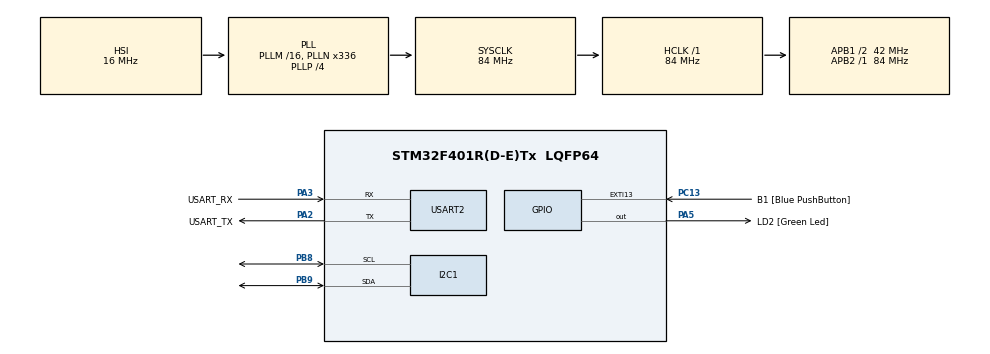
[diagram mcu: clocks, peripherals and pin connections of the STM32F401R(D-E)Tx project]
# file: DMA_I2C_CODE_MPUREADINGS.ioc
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Dma.I2C1_RX.0.Direction=DMA_PERIPH_TO_MEMORY
Dma.I2C1_RX.0.FIFOMode=DMA_FIFOMODE_DISABLE
Dma.I2C1_RX.0.Instance=DMA1_Stream0
Dma.I2C1_RX.0.MemDataAlignment=DMA_MDATAALIGN_BYTE
Dma.I2C1_RX.0.MemInc=DMA_MINC_ENABLE
Dma.I2C1_RX.0.Mode=DMA_CIRCULAR
Dma.I2C1_RX.0.PeriphDataAlignment=DMA_PDATAALIGN_BYTE
Dma.I2C1_RX.0.PeriphInc=DMA_PINC_DISABLE
Dma.I2C1_RX.0.Priority=DMA_PRIORITY_VERY_HIGH
Dma.Request0=I2C1_RX
Dma.Request1=USART2_TX
Dma.USART2_TX.1.Direction=DMA_MEMORY_TO_PERIPH
Dma.USART2_TX.1.FIFOMode=DMA_FIFOMODE_DISABLE
Dma.USART2_TX.1.Instance=DMA1_Stream6
Dma.USART2_TX.1.MemDataAlignment=DMA_MDATAALIGN_BYTE
Dma.USART2_TX.1.MemInc=DMA_MINC_ENABLE
Dma.USART2_TX.1.Mode=DMA_CIRCULAR
Dma.USART2_TX.1.PeriphDataAlignment=DMA_PDATAALIGN_BYTE
Dma.USART2_TX.1.PeriphInc=DMA_PINC_DISABLE
Dma.USART2_TX.1.Priority=DMA_PRIORITY_LOW
Mcu.Family=STM32F4
Mcu.Name=STM32F401R(D-E)Tx
Mcu.Package=LQFP64
NVIC.DMA1_Stream0_IRQn=true\:0\:0\:false\:false\:true\:false\:true\:true
NVIC.DMA1_Stream6_IRQn=true\:0\:0\:false\:false\:true\:false\:true\:true
NVIC.I2C1_ER_IRQn=true\:0\:0\:false\:false\:true\:true\:true\:true
NVIC.I2C1_EV_IRQn=true\:0\:0\:false\:false\:true\:true\:true\:true
NVIC.PriorityGroup=NVIC_PRIORITYGROUP_4
PA13.GPIO_Label=TMS
PA13.Mode=Trace_Asynchronous_SW
PA13.Signal=SYS_JTMS-SWDIO
PA14.GPIO_Label=TCK
PA14.Mode=Trace_Asynchronous_SW
PA14.Signal=SYS_JTCK-SWCLK
PA2.GPIO_Label=USART_TX
PA2.GPIO_Mode=GPIO_MODE_AF_PP
PA2.GPIO_PuPd=GPIO_NOPULL
PA2.GPIO_Speed=GPIO_SPEED_FREQ_LOW
PA2.Mode=Asynchronous
PA2.Signal=USART2_TX
PA3.GPIO_Label=USART_RX
PA3.GPIO_Mode=GPIO_MODE_AF_PP
PA3.GPIO_PuPd=GPIO_NOPULL
PA3.GPIO_Speed=GPIO_SPEED_FREQ_LOW
PA3.Mode=Asynchronous
PA3.Signal=USART2_RX
PA5.GPIO_Label=LD2 [Green Led]
PA5.GPIO_Mode=GPIO_MODE_OUTPUT_PP
PA5.GPIO_PuPd=GPIO_NOPULL
PA5.GPIO_Speed=GPIO_SPEED_FREQ_LOW
PA5.Signal=GPIO_Output
PB3.GPIO_Label=SWO
PB3.Mode=Trace_Asynchronous_SW
PB3.Signal=SYS_JTDO-SWO
PB8.Mode=I2C
PB8.Signal=I2C1_SCL
PB9.Mode=I2C
PB9.Signal=I2C1_SDA
PC13-ANTI_TAMP.GPIO_Label=B1 [Blue PushButton]
PC13-ANTI_TAMP.GPIO_ModeDefaultEXTI=GPIO_MODE_IT_FALLING
PC13-ANTI_TAMP.GPIO_PuPd=GPIO_NOPULL
PC13-ANTI_TAMP.Signal=GPXTI13
PC14-OSC32_IN.Mode=LSE-External-Oscillator
PC14-OSC32_IN.Signal=RCC_OSC32_IN
PC15-OSC32_OUT.Mode=LSE-External-Oscillator
PC15-OSC32_OUT.Signal=RCC_OSC32_OUT
PH0\ -\ OSC_IN.Mode=HSE-External-Clock-Source
PH0\ -\ OSC_IN.Signal=RCC_OSC_IN
PH1\ -\ OSC_OUT.Mode=HSE-External-Clock-Source
PH1\ -\ OSC_OUT.Signal=RCC_OSC_OUT
ProjectManager.HeapSize=0x200
ProjectManager.StackSize=0x400
ProjectManager.TargetToolchain=STM32CubeIDE
RCC.48MHZClocksFreq_Value=48000000
RCC.AHBFreq_Value=84000000
RCC.APB1CLKDivider=RCC_HCLK_DIV2
RCC.APB1Freq_Value=42000000
RCC.APB1TimFreq_Value=84000000
RCC.APB2Freq_Value=84000000
RCC.APB2TimFreq_Value=84000000
RCC.CortexFreq_Value=84000000
RCC.HCLKFreq_Value=84000000
RCC.HSE_VALUE=8000000
RCC.HSI_VALUE=16000000
RCC.PLLN=336
RCC.PLLP=RCC_PLLP_DIV4
RCC.PLLQ=7
RCC.SYSCLKFreq_VALUE=84000000
RCC.SYSCLKSource=RCC_SYSCLKSOURCE_PLLCLK
RCC.VCOOutputFreq_Value=336000000
USART2.VirtualMode=VM_ASYNC
board=NUCLEO-F401RE

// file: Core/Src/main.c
/* USER CODE BEGIN Header */
/**
  ******************************************************************************
  * @file           : main.c
  * @brief          : Main program body
  ******************************************************************************
  * @attention
  *
  * Copyright (c) 2025 STMicroelectronics.
  * All rights reserved.
  *
  * This software is licensed under terms that can be found in the LICENSE file
  * in the root directory of this software component.
  * If no LICENSE file comes with this software, it is provided AS-IS.
  *
  ******************************************************************************
  */
/* USER CODE END Header */
#include "main.h"
#include <stdio.h>
#include <string.h>

/* USER CODE BEGIN PD */
#define MPU6050_ADDR         (0x68 << 1)
#define MPU6050_PWR_MGMT_1   0x6B
#define MPU6050_ACCEL_XOUT_H 0x3B
#define DATA_LENGTH          14

/* USER CODE END PD */

I2C_HandleTypeDef hi2c1;
DMA_HandleTypeDef hdma_i2c1_rx;

UART_HandleTypeDef huart2;
DMA_HandleTypeDef hdma_usart2_tx;

/* USER CODE BEGIN PV */

uint8_t mpu6050Data[14];
volatile uint8_t dataReady = 0; // Flag for DMA completion

int16_t AccelX, AccelY, AccelZ;
int16_t Temperature;
int16_t GyroX, GyroY, GyroZ;
uint8_t mpu6050Data[DATA_LENGTH];
volatile uint8_t dma_transfer_complete = 0;
/* USER CODE END PV */

void SystemClock_Config(void);
static void MX_GPIO_Init(void);
static void MX_DMA_Init(void);
static void MX_USART2_UART_Init(void);
static void MX_I2C1_Init(void);
void MPU6050_Init(void);
void MPU6050_Read(void);
void ProcessMPU6050Data(void);
void Debug_UART_Print(const char *message);

/* USER CODE BEGIN 0 */
void Debug_UART_Print(const char *message)
{
    HAL_UART_Transmit(&huart2, (uint8_t *)message, strlen(message), HAL_MAX_DELAY);
}
/* Initialize the MPU6050 */
void MPU6050_Init(void)
{
    uint8_t data = 0;
    if (HAL_I2C_Mem_Write(&hi2c1, MPU6050_ADDR, MPU6050_PWR_MGMT_1,
                          I2C_MEMADD_SIZE_8BIT, &data, 1, HAL_MAX_DELAY) == HAL_OK)
    {
        Debug_UART_Print("MPU6050 Initialized Successfully\r\n");
    }
    else
    {
        Debug_UART_Print("MPU6050 Initialization Failed\r\n");
    }
}

/* Start I2C Read using DMA */
void MPU6050_Read(void)
{
    dma_transfer_complete = 0;  // Reset flag before starting DMA transfer
    Debug_UART_Print("Starting I2C DMA Read...\r\n");

    if (HAL_I2C_Mem_Read_DMA(&hi2c1, MPU6050_ADDR, MPU6050_ACCEL_XOUT_H,
                             I2C_MEMADD_SIZE_8BIT, mpu6050Data, DATA_LENGTH) != HAL_OK)
    {
        Debug_UART_Print("I2C DMA Read Failed!\r\n");
    }
}

/* DMA Completion Callback */
void HAL_I2C_MemRxCpltCallback(I2C_HandleTypeDef *hi2c)
{
    if (hi2c->Instance == I2C1)
    {
        Debug_UART_Print("DMA Transfer Complete!\r\n");
        dma_transfer_complete = 1;
        HAL_GPIO_TogglePin(GPIOB, GPIO_PIN_0);  // Toggle LED (if available)
    }
}

/* USER CODE END 0 */

int main(void)
{

  /* MCU Configuration--------------------------------------------------------*/

  /* Reset of all peripherals, Initializes the Flash interface and the Systick. */
  HAL_Init();

  /* Configure the system clock */
  SystemClock_Config();

  /* Initialize all configured peripherals */
  MX_GPIO_Init();
  MX_DMA_Init();
  MX_USART2_UART_Init();
  MX_I2C1_Init();
  /* USER CODE BEGIN 2 */
  Debug_UART_Print("System Initialized!\r\n");

  MPU6050_Init();

  while (1)
  {
      MPU6050_Read();  // Start DMA Read
      Debug_UART_Print("Waiting for DMA Completion...\r\n");

      // Wait for DMA to complete
      while (!dma_transfer_complete)
      {
          HAL_Delay(10);  // Small delay to prevent CPU blocking
      }

      Debug_UART_Print("Processing Sensor Data...\r\n");

      // Process Data
      char msg[100];
      snprintf(msg, sizeof(msg), "AccelX: %d, AccelY: %d, AccelZ: %d\r\n",
               (int16_t)(mpu6050Data[0] << 8 | mpu6050Data[1]),
               (int16_t)(mpu6050Data[2] << 8 | mpu6050Data[3]),
               (int16_t)(mpu6050Data[4] << 8 | mpu6050Data[5]));

      Debug_UART_Print(msg);

      HAL_Delay(500);  // Delay before next read
  }
  /* USER CODE END 3 */
}

void SystemClock_Config(void)
{
  RCC_OscInitTypeDef RCC_OscInitStruct = {0};
  RCC_ClkInitTypeDef RCC_ClkInitStruct = {0};

  /** Configure the main internal regulator output voltage
  */
  __HAL_RCC_PWR_CLK_ENABLE();
  __HAL_PWR_VOLTAGESCALING_CONFIG(PWR_REGULATOR_VOLTAGE_SCALE2);

  /** Initializes the RCC Oscillators according to the specified parameters
  * in the RCC_OscInitTypeDef structure.
  */
  RCC_OscInitStruct.OscillatorType = RCC_OSCILLATORTYPE_HSI;
  RCC_OscInitStruct.HSIState = RCC_HSI_ON;
  RCC_OscInitStruct.HSICalibrationValue = RCC_HSICALIBRATION_DEFAULT;
  RCC_OscInitStruct.PLL.PLLState = RCC_PLL_ON;
  RCC_OscInitStruct.PLL.PLLSource = RCC_PLLSOURCE_HSI;
  RCC_OscInitStruct.PLL.PLLM = 16;
  RCC_OscInitStruct.PLL.PLLN = 336;
  RCC_OscInitStruct.PLL.PLLP = RCC_PLLP_DIV4;
  RCC_OscInitStruct.PLL.PLLQ = 7;
  if (HAL_RCC_OscConfig(&RCC_OscInitStruct) != HAL_OK)
  {
    Error_Handler();
  }

  /** Initializes the CPU, AHB and APB buses clocks
  */
  RCC_ClkInitStruct.ClockType = RCC_CLOCKTYPE_HCLK|RCC_CLOCKTYPE_SYSCLK
                              |RCC_CLOCKTYPE_PCLK1|RCC_CLOCKTYPE_PCLK2;
  RCC_ClkInitStruct.SYSCLKSource = RCC_SYSCLKSOURCE_PLLCLK;
  RCC_ClkInitStruct.AHBCLKDivider = RCC_SYSCLK_DIV1;
  RCC_ClkInitStruct.APB1CLKDivider = RCC_HCLK_DIV2;
  RCC_ClkInitStruct.APB2CLKDivider = RCC_HCLK_DIV1;

  if (HAL_RCC_ClockConfig(&RCC_ClkInitStruct, FLASH_LATENCY_2) != HAL_OK)
  {
    Error_Handler();
  }
}

static void MX_I2C1_Init(void)
{

  hi2c1.Instance = I2C1;
  hi2c1.Init.ClockSpeed = 100000;
  hi2c1.Init.DutyCycle = I2C_DUTYCYCLE_2;
  hi2c1.Init.OwnAddress1 = 0;
  hi2c1.Init.AddressingMode = I2C_ADDRESSINGMODE_7BIT;
  hi2c1.Init.DualAddressMode = I2C_DUALADDRESS_DISABLE;
  hi2c1.Init.OwnAddress2 = 0;
  hi2c1.Init.GeneralCallMode = I2C_GENERALCALL_DISABLE;
  hi2c1.Init.NoStretchMode = I2C_NOSTRETCH_DISABLE;
  if (HAL_I2C_Init(&hi2c1) != HAL_OK)
  {
    Error_Handler();
  }

}

static void MX_USART2_UART_Init(void)
{

  huart2.Instance = USART2;
  huart2.Init.BaudRate = 115200;
  huart2.Init.WordLength = UART_WORDLENGTH_8B;
  huart2.Init.StopBits = UART_STOPBITS_1;
  huart2.Init.Parity = UART_PARITY_NONE;
  huart2.Init.Mode = UART_MODE_TX_RX;
  huart2.Init.HwFlowCtl = UART_HWCONTROL_NONE;
  huart2.Init.OverSampling = UART_OVERSAMPLING_16;
  if (HAL_UART_Init(&huart2) != HAL_OK)
  {
    Error_Handler();
  }

}

static void MX_DMA_Init(void)
{

  /* DMA controller clock enable */
  __HAL_RCC_DMA1_CLK_ENABLE();

  /* DMA interrupt init */
  /* DMA1_Stream0_IRQn interrupt configuration */
  HAL_NVIC_SetPriority(DMA1_Stream0_IRQn, 0, 0);
  HAL_NVIC_EnableIRQ(DMA1_Stream0_IRQn);
  /* DMA1_Stream6_IRQn interrupt configuration */
  HAL_NVIC_SetPriority(DMA1_Stream6_IRQn, 0, 0);
  HAL_NVIC_EnableIRQ(DMA1_Stream6_IRQn);

}

static void MX_GPIO_Init(void)
{
  GPIO_InitTypeDef GPIO_InitStruct = {0};

  /* GPIO Ports Clock Enable */
  __HAL_RCC_GPIOC_CLK_ENABLE();
  __HAL_RCC_GPIOH_CLK_ENABLE();
  __HAL_RCC_GPIOA_CLK_ENABLE();
  __HAL_RCC_GPIOB_CLK_ENABLE();

  /*Configure GPIO pin Output Level */
  HAL_GPIO_WritePin(LD2_GPIO_Port, LD2_Pin, GPIO_PIN_RESET);

  /*Configure GPIO pin : B1_Pin */
  GPIO_InitStruct.Pin = B1_Pin;
  GPIO_InitStruct.Mode = GPIO_MODE_IT_FALLING;
  GPIO_InitStruct.Pull = GPIO_NOPULL;
  HAL_GPIO_Init(B1_GPIO_Port, &GPIO_InitStruct);

  /*Configure GPIO pin : LD2_Pin */
  GPIO_InitStruct.Pin = LD2_Pin;
  GPIO_InitStruct.Mode = GPIO_MODE_OUTPUT_PP;
  GPIO_InitStruct.Pull = GPIO_NOPULL;
  GPIO_InitStruct.Speed = GPIO_SPEED_FREQ_LOW;
  HAL_GPIO_Init(LD2_GPIO_Port, &GPIO_InitStruct);

}

void Error_Handler(void)
{
  __disable_irq();
  while (1)
  {
  }
}
